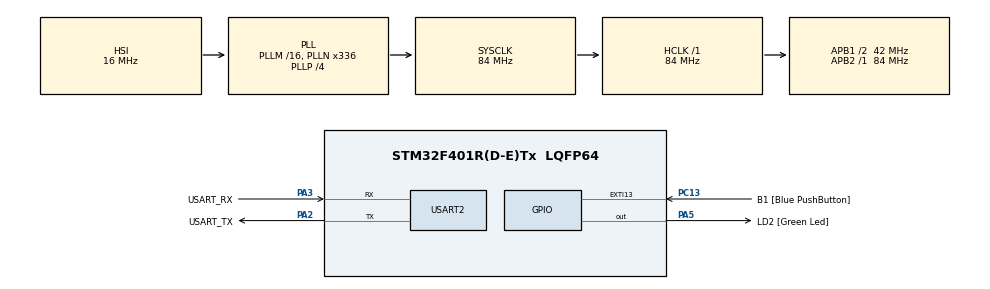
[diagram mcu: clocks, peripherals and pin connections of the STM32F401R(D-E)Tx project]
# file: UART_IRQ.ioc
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Mcu.Family=STM32F4
Mcu.Name=STM32F401R(D-E)Tx
Mcu.Package=LQFP64
NVIC.PriorityGroup=NVIC_PRIORITYGROUP_0
NVIC.USART2_IRQn=true\:0\:0\:false\:false\:true\:true
PA13.GPIO_Label=TMS
PA13.Mode=Serial_Wire
PA13.Signal=SYS_JTMS-SWDIO
PA14.GPIO_Label=TCK
PA14.Mode=Serial_Wire
PA14.Signal=SYS_JTCK-SWCLK
PA2.GPIO_Label=USART_TX
PA2.GPIO_Mode=GPIO_MODE_AF_PP
PA2.GPIO_PuPd=GPIO_NOPULL
PA2.GPIO_Speed=GPIO_SPEED_FREQ_LOW
PA2.Mode=Asynchronous
PA2.Signal=USART2_TX
PA3.GPIO_Label=USART_RX
PA3.GPIO_Mode=GPIO_MODE_AF_PP
PA3.GPIO_PuPd=GPIO_NOPULL
PA3.GPIO_Speed=GPIO_SPEED_FREQ_LOW
PA3.Mode=Asynchronous
PA3.Signal=USART2_RX
PA5.GPIO_Label=LD2 [Green Led]
PA5.GPIO_Mode=GPIO_MODE_OUTPUT_PP
PA5.GPIO_PuPd=GPIO_NOPULL
PA5.GPIO_Speed=GPIO_SPEED_FREQ_LOW
PA5.Signal=GPIO_Output
PB3.GPIO_Label=SWO
PB3.Signal=SYS_JTDO-SWO
PC13-ANTI_TAMP.GPIO_Label=B1 [Blue PushButton]
PC13-ANTI_TAMP.GPIO_ModeDefaultEXTI=GPIO_MODE_IT_FALLING
PC13-ANTI_TAMP.GPIO_PuPd=GPIO_NOPULL
PC13-ANTI_TAMP.Signal=GPXTI13
PC14-OSC32_IN.Mode=LSE-External-Oscillator
PC14-OSC32_IN.Signal=RCC_OSC32_IN
PC15-OSC32_OUT.Mode=LSE-External-Oscillator
PC15-OSC32_OUT.Signal=RCC_OSC32_OUT
PH0\ -\ OSC_IN.Mode=HSE-External-Clock-Source
PH0\ -\ OSC_IN.Signal=RCC_OSC_IN
PH1\ -\ OSC_OUT.Mode=HSE-External-Clock-Source
PH1\ -\ OSC_OUT.Signal=RCC_OSC_OUT
ProjectManager.HeapSize=0x200
ProjectManager.StackSize=0x400
ProjectManager.TargetToolchain=SW4STM32
RCC.48MHZClocksFreq_Value=48000000
RCC.AHBFreq_Value=84000000
RCC.APB1CLKDivider=RCC_HCLK_DIV2
RCC.APB1Freq_Value=42000000
RCC.APB1TimFreq_Value=84000000
RCC.APB2Freq_Value=84000000
RCC.APB2TimFreq_Value=84000000
RCC.CortexFreq_Value=84000000
RCC.HCLKFreq_Value=84000000
RCC.HSE_VALUE=8000000
RCC.HSI_VALUE=16000000
RCC.PLLN=336
RCC.PLLP=RCC_PLLP_DIV4
RCC.PLLQ=7
RCC.SYSCLKFreq_VALUE=84000000
RCC.SYSCLKSource=RCC_SYSCLKSOURCE_PLLCLK
RCC.VCOOutputFreq_Value=336000000
USART2.VirtualMode=VM_ASYNC
board=NUCLEO-F401RE

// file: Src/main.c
/**
  ******************************************************************************
  * @file           : main.c
  * @brief          : Main program body
  ******************************************************************************
  ** This notice applies to any and all portions of this file
  * that are not between comment pairs USER CODE BEGIN and
  * USER CODE END. Other portions of this file, whether
  * inserted by the user or by software development tools
  * are owned by their respective copyright owners.
  *
  * COPYRIGHT(c) 2018 STMicroelectronics
  *
  * Redistribution and use in source and binary forms, with or without modification,
  * are permitted provided that the following conditions are met:
  *   1. Redistributions of source code must retain the above copyright notice,
  *      this list of conditions and the following disclaimer.
  *   2. Redistributions in binary form must reproduce the above copyright notice,
  *      this list of conditions and the following disclaimer in the documentation
  *      and/or other materials provided with the distribution.
  *   3. Neither the name of STMicroelectronics nor the names of its contributors
  *      may be used to endorse or promote products derived from this software
  *      without specific prior written permission.
  *
  * THIS SOFTWARE IS PROVIDED BY THE COPYRIGHT HOLDERS AND CONTRIBUTORS "AS IS"
  * AND ANY EXPRESS OR IMPLIED WARRANTIES, INCLUDING, BUT NOT LIMITED TO, THE
  * IMPLIED WARRANTIES OF MERCHANTABILITY AND FITNESS FOR A PARTICULAR PURPOSE ARE
  * DISCLAIMED. IN NO EVENT SHALL THE COPYRIGHT HOLDER OR CONTRIBUTORS BE LIABLE
  * FOR ANY DIRECT, INDIRECT, INCIDENTAL, SPECIAL, EXEMPLARY, OR CONSEQUENTIAL
  * DAMAGES (INCLUDING, BUT NOT LIMITED TO, PROCUREMENT OF SUBSTITUTE GOODS OR
  * SERVICES; LOSS OF USE, DATA, OR PROFITS; OR BUSINESS INTERRUPTION) HOWEVER
  * CAUSED AND ON ANY THEORY OF LIABILITY, WHETHER IN CONTRACT, STRICT LIABILITY,
  * OR TORT (INCLUDING NEGLIGENCE OR OTHERWISE) ARISING IN ANY WAY OUT OF THE USE
  * OF THIS SOFTWARE, EVEN IF ADVISED OF THE POSSIBILITY OF SUCH DAMAGE.
  *
  ******************************************************************************
  */
#include "main.h"
#include "stm32f4xx_hal.h"

/* USER CODE BEGIN Includes */

#include <string.h>

/* USER CODE END Includes */

UART_HandleTypeDef huart2;

/* USER CODE BEGIN PV */
/* Private variables ---------------------------------------------------------*/
#define UART_RX_BUFFER 16
uint8_t flag_recv = 0;
unsigned char rec_char;
uint8_t UartRx_buffer[UART_RX_BUFFER];
uint8_t rx_idx = 0;
/* USER CODE END PV */

void SystemClock_Config(void);
static void MX_GPIO_Init(void);
static void MX_USART2_UART_Init(void);

/* USER CODE BEGIN PFP */
/* Private function prototypes -----------------------------------------------*/

/* USER CODE END PFP */

int main(void)
{

  /* MCU Configuration----------------------------------------------------------*/

  /* Reset of all peripherals, Initializes the Flash interface and the Systick. */
  HAL_Init();

  /* Configure the system clock */
  SystemClock_Config();

  /* Initialize all configured peripherals */
  MX_GPIO_Init();
  MX_USART2_UART_Init();

  /* Infinite loop */
  while (1)
  {

  /* USER CODE BEGIN 3 */
	  HAL_UART_Receive_IT(&huart2, (uint8_t *)&rec_char, sizeof(char));

	  if(flag_recv == 1){
		  //Carattere ricevuto
		  flag_recv = 0;
		  HAL_UART_Transmit(&huart2, (unsigned char *)"Received\r\n", 10, 100);
	  }else if (flag_recv == 2){
		  //ricevuti 16 char o premuto invio
		  HAL_UART_Transmit(&huart2, UartRx_buffer, sizeof(UartRx_buffer), 200);
		  uint8_t newl = '\n';
		  uint8_t newr = '\r';
		  HAL_UART_Transmit(&huart2, &newr, 1, 200);
		  HAL_UART_Transmit(&huart2, &newl, 1, 200);
		  memset(UartRx_buffer, 0, UART_RX_BUFFER);
		  flag_recv = 0;
	  }

	  HAL_Delay(250);
  }
  /* USER CODE END 3 */

}

void SystemClock_Config(void)
{

  RCC_OscInitTypeDef RCC_OscInitStruct;
  RCC_ClkInitTypeDef RCC_ClkInitStruct;

    /**Configure the main internal regulator output voltage
    */
  __HAL_RCC_PWR_CLK_ENABLE();

  __HAL_PWR_VOLTAGESCALING_CONFIG(PWR_REGULATOR_VOLTAGE_SCALE2);

    /**Initializes the CPU, AHB and APB busses clocks
    */
  RCC_OscInitStruct.OscillatorType = RCC_OSCILLATORTYPE_HSI;
  RCC_OscInitStruct.HSIState = RCC_HSI_ON;
  RCC_OscInitStruct.HSICalibrationValue = 16;
  RCC_OscInitStruct.PLL.PLLState = RCC_PLL_ON;
  RCC_OscInitStruct.PLL.PLLSource = RCC_PLLSOURCE_HSI;
  RCC_OscInitStruct.PLL.PLLM = 16;
  RCC_OscInitStruct.PLL.PLLN = 336;
  RCC_OscInitStruct.PLL.PLLP = RCC_PLLP_DIV4;
  RCC_OscInitStruct.PLL.PLLQ = 7;
  if (HAL_RCC_OscConfig(&RCC_OscInitStruct) != HAL_OK)
  {
    _Error_Handler(__FILE__, __LINE__);
  }

    /**Initializes the CPU, AHB and APB busses clocks
    */
  RCC_ClkInitStruct.ClockType = RCC_CLOCKTYPE_HCLK|RCC_CLOCKTYPE_SYSCLK
                              |RCC_CLOCKTYPE_PCLK1|RCC_CLOCKTYPE_PCLK2;
  RCC_ClkInitStruct.SYSCLKSource = RCC_SYSCLKSOURCE_PLLCLK;
  RCC_ClkInitStruct.AHBCLKDivider = RCC_SYSCLK_DIV1;
  RCC_ClkInitStruct.APB1CLKDivider = RCC_HCLK_DIV2;
  RCC_ClkInitStruct.APB2CLKDivider = RCC_HCLK_DIV1;

  if (HAL_RCC_ClockConfig(&RCC_ClkInitStruct, FLASH_LATENCY_2) != HAL_OK)
  {
    _Error_Handler(__FILE__, __LINE__);
  }

    /**Configure the Systick interrupt time
    */
  HAL_SYSTICK_Config(HAL_RCC_GetHCLKFreq()/1000);

    /**Configure the Systick
    */
  HAL_SYSTICK_CLKSourceConfig(SYSTICK_CLKSOURCE_HCLK);

  /* SysTick_IRQn interrupt configuration */
  HAL_NVIC_SetPriority(SysTick_IRQn, 0, 0);
}

/* USART2 init function */
static void MX_USART2_UART_Init(void)
{

  huart2.Instance = USART2;
  huart2.Init.BaudRate = 115200;
  huart2.Init.WordLength = UART_WORDLENGTH_8B;
  huart2.Init.StopBits = UART_STOPBITS_1;
  huart2.Init.Parity = UART_PARITY_NONE;
  huart2.Init.Mode = UART_MODE_TX_RX;
  huart2.Init.HwFlowCtl = UART_HWCONTROL_NONE;
  huart2.Init.OverSampling = UART_OVERSAMPLING_16;
  if (HAL_UART_Init(&huart2) != HAL_OK)
  {
    _Error_Handler(__FILE__, __LINE__);
  }

}

/** Configure pins as
        * Analog
        * Input
        * Output
        * EVENT_OUT
        * EXTI
*/
static void MX_GPIO_Init(void)
{

  GPIO_InitTypeDef GPIO_InitStruct;

  /* GPIO Ports Clock Enable */
  __HAL_RCC_GPIOC_CLK_ENABLE();
  __HAL_RCC_GPIOH_CLK_ENABLE();
  __HAL_RCC_GPIOA_CLK_ENABLE();
  __HAL_RCC_GPIOB_CLK_ENABLE();

  /*Configure GPIO pin Output Level */
  HAL_GPIO_WritePin(LD2_GPIO_Port, LD2_Pin, GPIO_PIN_RESET);

  /*Configure GPIO pin : B1_Pin */
  GPIO_InitStruct.Pin = B1_Pin;
  GPIO_InitStruct.Mode = GPIO_MODE_IT_FALLING;
  GPIO_InitStruct.Pull = GPIO_NOPULL;
  HAL_GPIO_Init(B1_GPIO_Port, &GPIO_InitStruct);

  /*Configure GPIO pin : LD2_Pin */
  GPIO_InitStruct.Pin = LD2_Pin;
  GPIO_InitStruct.Mode = GPIO_MODE_OUTPUT_PP;
  GPIO_InitStruct.Pull = GPIO_NOPULL;
  GPIO_InitStruct.Speed = GPIO_SPEED_FREQ_LOW;
  HAL_GPIO_Init(LD2_GPIO_Port, &GPIO_InitStruct);

}

/* USER CODE BEGIN 4 */

void HAL_UART_RxCpltCallback(UART_HandleTypeDef *huart)
{
	//Interrupt callback
	if(rx_idx < UART_RX_BUFFER && rec_char != 13){
		UartRx_buffer[rx_idx] = rec_char;
		flag_recv = 1;
		++rx_idx;
	} else if (rx_idx >= UART_RX_BUFFER || rec_char == 13) {
		//16 caratteri o TODO: premuto invio
		flag_recv = 2;
		rx_idx = 0;
	}
	return;
}

/* USER CODE END 4 */

void _Error_Handler(char *file, int line)
{
  while(1)
  {
  }
}

/************************ (C) COPYRIGHT STMicroelectronics *****END OF FILE****/
